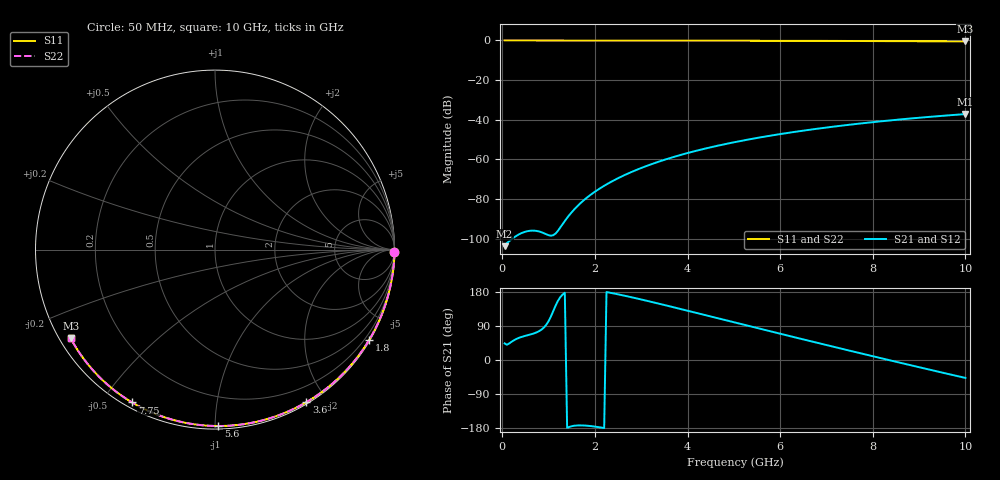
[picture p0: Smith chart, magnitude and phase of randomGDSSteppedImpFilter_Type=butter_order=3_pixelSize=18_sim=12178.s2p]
! freq	dB(S11)	phase(S11)	dB(S12)	phase(S12)
!  dB(S21)	phase(S21)	dB(S22)	phase(S22)
!S-par simulation data
#  GHz  S  DB  R 50
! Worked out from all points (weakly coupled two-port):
!   200 points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, 50 MHz to 10 GHz, reference 50 ohm
!   highest |S21| = -37.16 dB at 10 GHz (marker M1); lowest = -103.8 dB at 50 MHz (marker M2)
!   lowest |S11| = -0.5 dB at 10 GHz (marker M3), VSWR 34.58, Z = 1.56 - j14.1 ohm
!   |S11| at or under -10 dB: nowhere
!   |S22| runs from -0.5 to 0.0 dB; largest |S21 - S12| = 0
!   S11 on the Smith chart (normalised r, x): 50 MHz: open; 1.8 GHz: 0.03, -3.69; 3.6 GHz: 0.02, -1.76; 5.6 GHz: 0.02, -1.02; 7.75 GHz: 0.02, -0.59; 10 GHz: 0.03, -0.28
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0.05  -0.00 -0.9  -103.81 43.8  -103.81 43.8  -0.00 -0.9
0.45  -0.01 -7.7  -96.88 62.2  -96.88 62.2  -0.01 -7.7
0.9  -0.02 -15.3  -97.28 85.9  -97.28 85.9  -0.02 -15.3
1.3  -0.03 -22.0  -92.77 172.4  -92.77 172.4  -0.03 -22.0
1.75  -0.04 -29.5  -80.82 -172.8  -80.82 -172.8  -0.04 -29.5
1.8  -0.04 -30.3  -79.84 -173.1  -79.84 -173.1  -0.04 -30.3
1.95  -0.04 -32.8  -77.15 -174.9  -77.15 -174.9  -0.04 -32.8
2.1  -0.05 -35.2  -74.78 -177.5  -74.78 -177.5  -0.05 -35.2
2.3  -0.05 -38.5  -71.98 178.2  -71.98 178.2  -0.05 -38.5
2.5  -0.05 -41.7  -69.51 173.3  -69.51 173.3  -0.05 -41.7
2.9  -0.06 -48.2  -65.29 162.6  -65.29 162.6  -0.06 -48.2
3.4  -0.07 -56.0  -60.99 148.1  -60.99 148.1  -0.07 -56.0
3.6  -0.08 -59.2  -59.50 142.1  -59.50 142.1  -0.08 -59.2
4.3  -0.10 -69.8  -55.02 120.9  -55.02 120.9  -0.10 -69.8
5.05  -0.12 -81.0  -51.17 98.1  -51.17 98.1  -0.12 -81.0
5.6  -0.15 -88.9  -48.79 81.4  -48.79 81.4  -0.15 -88.9
6.15  -0.17 -96.6  -46.71 64.8  -46.71 64.8  -0.17 -96.6
6.7  -0.20 -104.3  -44.86 48.3  -44.86 48.3  -0.20 -104.3
7.75  -0.28 -118.5  -41.85 17.3  -41.85 17.3  -0.28 -118.5
8.35  -0.33 -126.5  -40.39 -0.3  -40.39 -0.3  -0.33 -126.5
9.2  -0.41 -137.7  -38.60 -24.8  -38.60 -24.8  -0.41 -137.7
10  -0.50 -148.4  -37.16 -47.3  -37.16 -47.3  -0.50 -148.4
